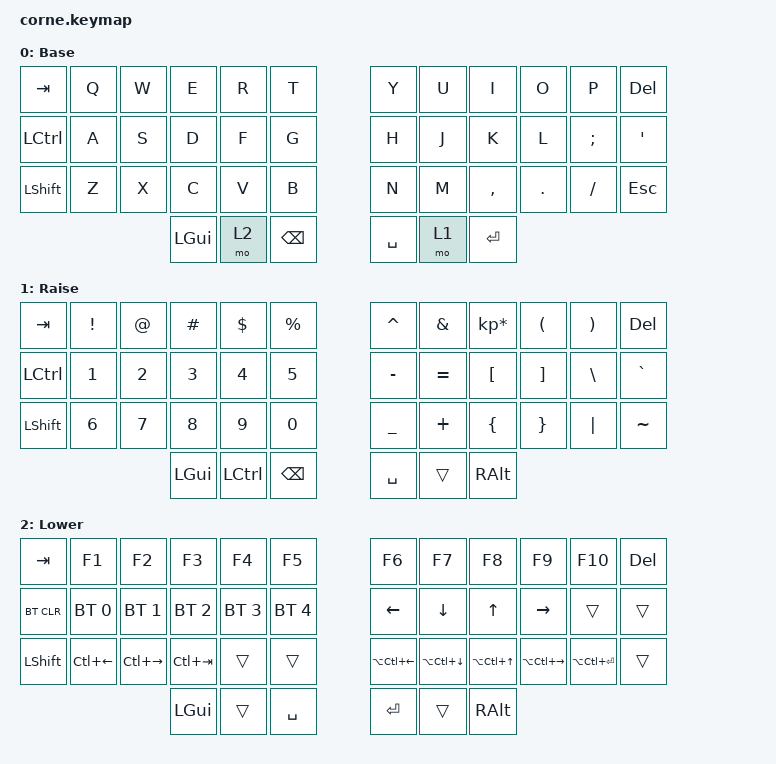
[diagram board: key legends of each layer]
/*
 * Copyright (c) 2020 The ZMK Contributors
 *
 * SPDX-License-Identifier: MIT
 */

#include <behaviors.dtsi>
#include <dt-bindings/zmk/bt.h>
#include <dt-bindings/zmk/keys.h>

/ {
    behaviors {
        tap_press: tap_press {
            compatible = "zmk,behavior-hold-tap";
            label = "TAP_PRESS";
            bindings = <&none>, <&none>;

            #binding-cells = <2>;
            tapping-term-ms = <150>;
            quick-tap-ms = <0>;
            flavor = "tap-preferred";
        };
    };

    keymap {
        compatible = "zmk,keymap";

        default_layer {
            // -----------------------------------------------------------------------------------------
            // |  TAB |  Q  |  W  |  E  |  R  |  T  |   |  Y  |  U   |  I  |  O  |  P  | BKSP |
            // | CTRL |  A  |  S  |  D  |  F  |  G  |   |  H  |  J   |  K  |  L  |  ;  |  '   |
            // | SHFT |  Z  |  X  |  C  |  V  |  B  |   |  N  |  M   |  ,  |  .  |  /  | ESC  |
            //                    | GUI | LWR | SPC |   | ENT | RSE  | ALT |

            label = "Base";
            bindings = <
&kp TAB    &kp Q  &kp W  &kp E     &kp R  &kp T            &kp Y      &kp U  &kp I       &kp O    &kp P     &kp DELETE
&kp LCTRL  &kp A  &kp S  &kp D     &kp F  &kp G            &kp H      &kp J  &kp K       &kp L    &kp SEMI  &kp SQT
&kp LSHFT  &kp Z  &kp X  &kp C     &kp V  &kp B            &kp N      &kp M  &kp COMMA   &kp DOT  &kp FSLH  &kp ESC
                         &kp LGUI  &mo 2  &kp BACKSPACE    &kp SPACE  &mo 1  &kp RETURN
            >;
        };

        raise_layer {
            // -----------------------------------------------------------------------------------------
            // |  TAB |  !  |  @  |  #  |  $  |  %  |   |  ^  |  &  |  *  |  (  |  )  | BKSP |
            // | CTRL |     |     |     |     |     |   |  -  |  =  |  [  |  ]  |  \  |  `   |
            // | SHFT |     |     |     |     |     |   |  _  |  +  |  {  |  }  | "|" |  ~   |
            //                    | GUI |     | SPC |   | ENT |     | ALT |

            label = "Raise";
            bindings = <
&kp TAB    &kp EXCL  &kp AT        &kp HASH  &kp DLLR   &kp PRCNT        &kp CARET  &kp AMPS   &kp KP_MULTIPLY  &kp LPAR  &kp RPAR  &kp DELETE
&kp LCTRL  &kp N1    &kp NUMBER_2  &kp N3    &kp N4     &kp N5           &kp MINUS  &kp EQUAL  &kp LBKT         &kp RBKT  &kp BSLH  &kp GRAVE
&kp LSHFT  &kp N6    &kp N7        &kp N8    &kp N9     &kp N0           &kp UNDER  &kp PLUS   &kp LBRC         &kp RBRC  &kp PIPE  &kp TILDE
                                   &kp LGUI  &kp LCTRL  &kp BACKSPACE    &kp SPACE  &trans     &kp RALT
            >;
        };

        lower_layer {
            // -----------------------------------------------------------------------------------------
            // |  TAB |  1  |  2  |  3  |  4  |  5  |   |  6  |  7  |  8  |  9  |  0  | BKSP |
            // | BTCLR| BT1 | BT2 | BT3 | BT4 | BT5 |   | LFT | DWN |  UP | RGT |     |      |
            // | SHFT |     |     |     |     |     |   |     |     |     |     |     |      |
            //                    | GUI |     | SPC |   | ENT |     | ALT |

            label = "Lower";
            bindings = <
&kp TAB     &kp F1        &kp F2         &kp F3        &kp F4        &kp F5          &kp F6            &kp F7            &kp F8                &kp F9             &kp F10             &kp DELETE
&bt BT_CLR  &bt BT_SEL 0  &bt BT_SEL 1   &bt BT_SEL 2  &bt BT_SEL 3  &bt BT_SEL 4    &kp LEFT          &kp DOWN          &kp UP                &kp RIGHT          &trans              &trans
&kp LSHFT   &kp LC(LEFT)  &kp LC(RIGHT)  &kp LC(TAB)   &trans        &trans          &kp LA(LC(LEFT))  &kp LA(LC(DOWN))  &kp LA(LC(UP_ARROW))  &kp LA(LC(RIGHT))  &kp LA(LC(RETURN))  &trans
                                         &kp LGUI      &trans        &kp SPACE       &kp RET           &trans            &kp RALT
            >;
        };
    };
};
